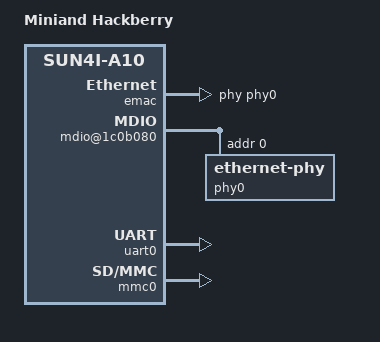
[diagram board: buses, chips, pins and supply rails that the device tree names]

/dts-v1/;

/include/ "./sun4i-a10.dtsi"

/ {
	model = "Miniand Hackberry";
	compatible = "miniand,hackberry", "allwinner,sun4i-a10";

	chosen {
		console = &uart0;
		bootargs = "earlyprintk console=ttyS0,115200";
		bootcmd = /* Mount initrd device */
			  "vfs mount initrd /",

			  /* Run boot script */
			  "vfs run /boot.xscript",

			  /* Print banner */
			  "vfs cat /system/banner.txt";
	};

	soc@1c00000 {
		emac: ethernet@1c0b000 {
			pinctrl-names = "default";
			pinctrl-0 = <&emac_pins_a>;
			phy = <&phy0>;
			status = "okay";
		};

		mdio@1c0b080 {
			status = "okay";

			phy0: ethernet-phy@0 {
			        reg = <0>;
			};
		};

		pio: pinctrl@1c20800 {
			pinctrl-names = "default";
			pinctrl-0 = <&hackberry_hogs>;

			hackberry_hogs: hogs@0 {
			        allwinner,pins = "PH19";
			        allwinner,function = "gpio_out";
			        allwinner,drive = <0>;
			        allwinner,pull = <0>;
			};
		};

		uart0: serial@1c28000 {
			pinctrl-names = "default";
			pinctrl-0 = <&uart0_pins_a>;
			status = "okay";
		};

		mmc0: mmc@1c0f000 {
			status = "okay";
		};
	};
};
